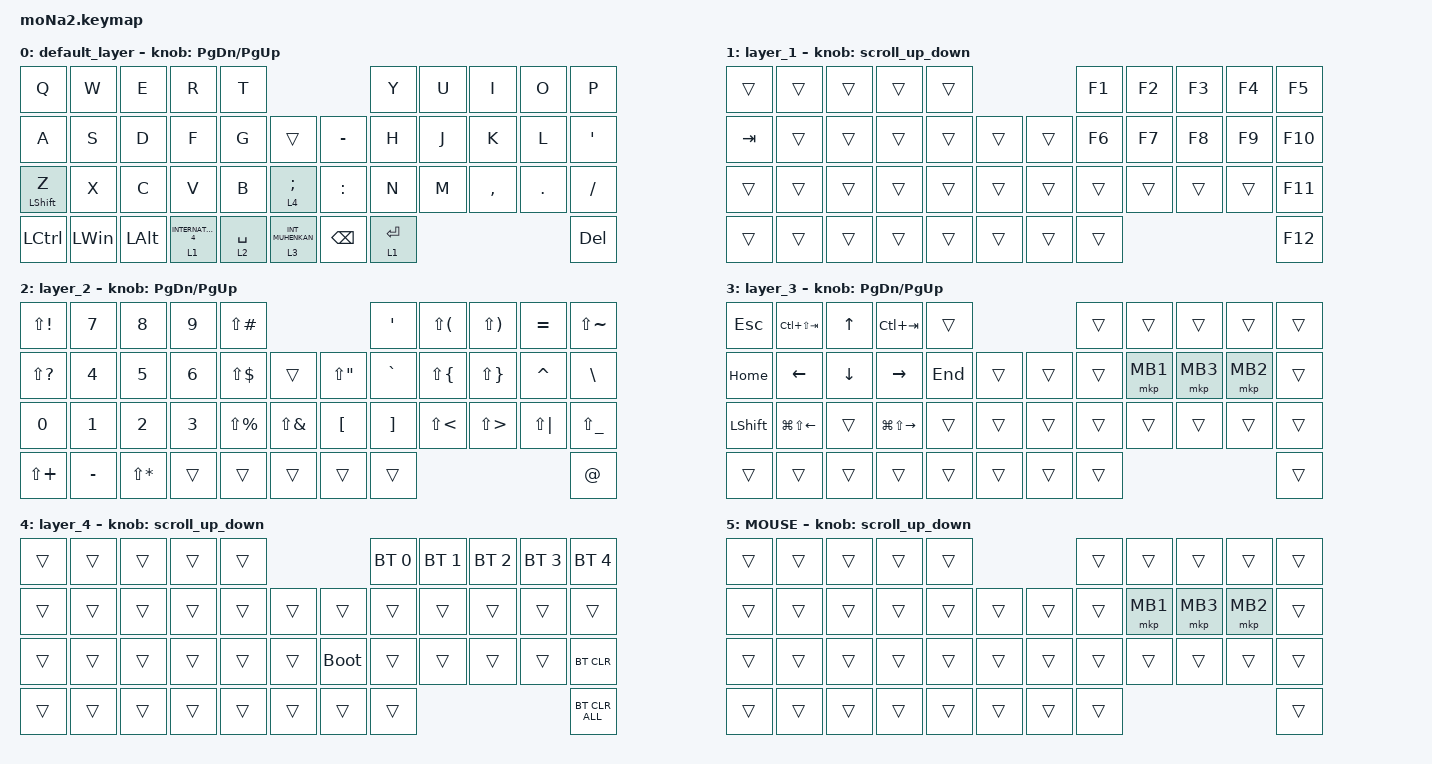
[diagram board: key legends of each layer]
#include <behaviors.dtsi>
#include <dt-bindings/zmk/bt.h>
#include <dt-bindings/zmk/keys.h>
#include <dt-bindings/zmk/pointing.h>
#include <dt-bindings/zmk/pointing.h>

#define ZMK_POINTING_DEFAULT_SCRL_VAL 100
#define MOUSE 6

&mt {
    flavor = "balanced";
    quick-tap-ms = <0>;
};

/ {
    combos { compatible = "zmk,combos"; };

    macros {
        to_layer_0: to_layer_0 {
            compatible = "zmk,behavior-macro-one-param";
            #binding-cells = <1>;
            bindings = <&to 2 &macro_param_1to1 &kp MACRO_PLACEHOLDER>;
            label = "TO_LAYER_0";
        };
    };

    behaviors {
        lt_to_layer_0: lt_to_layer_0 {
            compatible = "zmk,behavior-hold-tap";
            label = "LAYER_TAP_TO_0";
            bindings = <&mo>, <&to_layer_0>;

            #binding-cells = <2>;
            tapping-term-ms = <200>;
        };

        scroll_up_down: behavior_sensor_rotate_mouse_wheel_up_down {
            compatible = "zmk,behavior-sensor-rotate";
            #sensor-binding-cells = <0>;
            bindings = <&msc SCRL_UP>, <&msc SCRL_DOWN>;

            tap-ms = <20>;
        };
    };

    keymap {
        compatible = "zmk,keymap";

        default_layer {
            bindings = <
&kp Q             &kp W         &kp E         &kp R                  &kp T                                             &kp Y        &kp U  &kp I      &kp O    &kp P
&kp A             &kp S         &kp D         &kp F                  &kp G        &trans                &kp MINUS      &kp H        &kp J  &kp K      &kp L    &kp SQT
&mt LEFT_SHIFT Z  &kp X         &kp C         &kp V                  &kp B        &lt 4 SEMICOLON       &kp COLON      &kp N        &kp M  &kp COMMA  &kp DOT  &kp SLASH
&kp LCTRL         &kp LEFT_WIN  &kp LEFT_ALT  &lt 1 INTERNATIONAL_4  &lt 2 SPACE  &lt 3 INT_MUHENKAN    &kp BACKSPACE  &lt 1 ENTER                             &kp DEL
            >;

            sensor-bindings = <&inc_dec_kp PAGE_DOWN PAGE_UP>;
        };

        layer_1 {
            bindings = <
&trans   &trans  &trans  &trans  &trans                    &kp F1  &kp F2  &kp F3  &kp F4  &kp F5
&kp TAB  &trans  &trans  &trans  &trans  &trans    &trans  &kp F6  &kp F7  &kp F8  &kp F9  &kp F10
&trans   &trans  &trans  &trans  &trans  &trans    &trans  &trans  &trans  &trans  &trans  &kp F11
&trans   &trans  &trans  &trans  &trans  &trans    &trans  &trans                          &kp F12
            >;

            sensor-bindings = <&scroll_up_down>;
        };

        layer_2 {
            bindings = <
&kp LS(EXCL)   &kp N7     &kp N8        &kp N9  &kp LS(POUND)                               &kp SQT    &kp LS(LPAR)  &kp LS(RPAR)  &kp EQUAL     &kp LS(TILDE)
&kp LS(QMARK)  &kp N4     &kp N5        &kp N6  &kp LS(DLLR)   &trans          &kp LS(DQT)  &kp GRAVE  &kp LS(LBRC)  &kp LS(RBRC)  &kp CARET     &kp BSLH
&kp N0         &kp N1     &kp N2        &kp N3  &kp LS(PRCNT)  &kp LS(AMPS)    &kp LBKT     &kp RBKT   &kp LS(LT)    &kp LS(GT)    &kp LS(PIPE)  &kp LS(UNDER)
&kp LS(PLUS)   &kp MINUS  &kp LS(STAR)  &trans  &trans         &trans          &trans       &trans                                               &kp AT
            >;

            sensor-bindings = <&inc_dec_kp PAGE_DOWN PAGE_UP>;
        };

        layer_3 {
            bindings = <
&kp ESCAPE      &kp LC(LS(TAB))         &kp UP_ARROW    &kp LC(TAB)              &trans                     &trans  &trans    &trans    &trans    &trans
&kp HOME        &kp LEFT_ARROW          &kp DOWN_ARROW  &kp RIGHT_ARROW          &kp END  &trans    &trans  &trans  &mkp MB1  &mkp MB3  &mkp MB2  &trans
&kp LEFT_SHIFT  &kp LG(LS(LEFT_ARROW))  &trans          &kp LG(LS(RIGHT_ARROW))  &trans   &trans    &trans  &trans  &trans    &trans    &trans    &trans
&trans          &trans                  &trans          &trans                   &trans   &trans    &trans  &trans                                &trans
            >;

            sensor-bindings = <&inc_dec_kp PAGE_DOWN PAGE_UP>;
        };

        layer_4 {
            bindings = <
&trans  &trans  &trans  &trans  &trans                         &bt BT_SEL 0  &bt BT_SEL 1  &bt BT_SEL 2  &bt BT_SEL 3  &bt BT_SEL 4
&trans  &trans  &trans  &trans  &trans  &trans    &trans       &trans        &trans        &trans        &trans        &trans
&trans  &trans  &trans  &trans  &trans  &trans    &bootloader  &trans        &trans        &trans        &trans        &bt BT_CLR
&trans  &trans  &trans  &trans  &trans  &trans    &trans       &trans                                                  &bt BT_CLR_ALL
            >;

            sensor-bindings = <&scroll_up_down>;
        };

        MOUSE {
            bindings = <
&trans  &trans  &trans  &trans  &trans                    &trans  &trans    &trans    &trans    &trans
&trans  &trans  &trans  &trans  &trans  &trans    &trans  &trans  &mkp MB1  &mkp MB3  &mkp MB2  &trans
&trans  &trans  &trans  &trans  &trans  &trans    &trans  &trans  &trans    &trans    &trans    &trans
&trans  &trans  &trans  &trans  &trans  &trans    &trans  &trans                                &trans
            >;

            sensor-bindings = <&scroll_up_down>;
        };
    };
};
